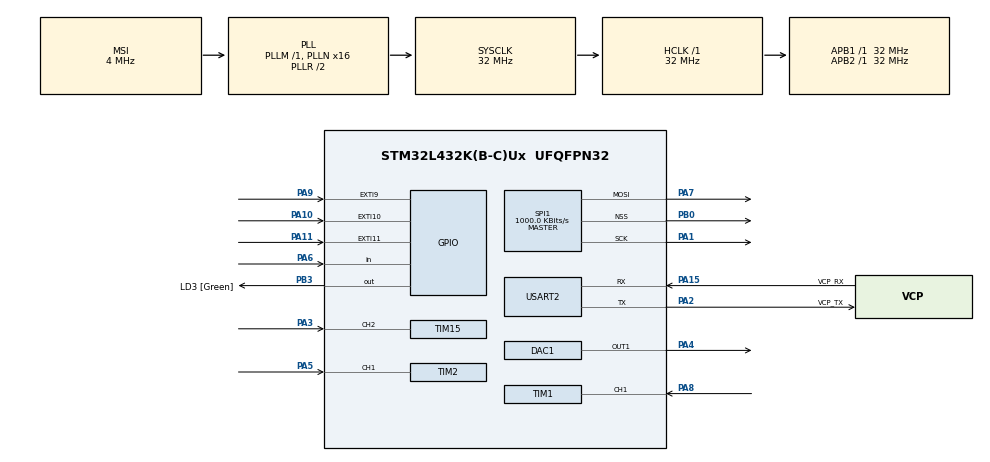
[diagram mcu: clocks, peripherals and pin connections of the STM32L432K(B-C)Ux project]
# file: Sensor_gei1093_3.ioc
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Mcu.Family=STM32L4
Mcu.Name=STM32L432K(B-C)Ux
Mcu.Package=UFQFPN32
NVIC.EXTI15_10_IRQn=true\:0\:0\:false\:false\:true\:true\:true\:true
NVIC.EXTI9_5_IRQn=true\:0\:0\:false\:false\:true\:true\:true\:true
NVIC.PriorityGroup=NVIC_PRIORITYGROUP_4
NVIC.TIM1_BRK_TIM15_IRQn=true\:0\:0\:false\:false\:true\:true\:true\:true
NVIC.TIM1_CC_IRQn=true\:0\:0\:false\:false\:true\:true\:true\:true
NVIC.TIM2_IRQn=true\:0\:0\:false\:false\:true\:true\:true\:true
NVIC.TIM6_DAC_IRQn=true\:0\:0\:false\:false\:true\:true\:true\:true
PA0.GPIO_Label=MCO [High speed clock in]
PA0.Mode=HSE-External-Clock-Source-for-LittleOrca
PA0.Signal=RCC_CK_IN
PA1.Mode=TX_Only_Simplex_Unidirect_Master
PA1.Signal=SPI1_SCK
PA10.GPIO_PuPd=GPIO_PULLDOWN
PA10.Signal=GPXTI10
PA11.GPIO_PuPd=GPIO_PULLDOWN
PA11.Signal=GPXTI11
PA13\ (JTMS-SWDIO).GPIO_Label=SWDIO
PA13\ (JTMS-SWDIO).Mode=Serial_Wire
PA13\ (JTMS-SWDIO).Signal=SYS_JTMS-SWDIO
PA14\ (JTCK-SWCLK).GPIO_Label=SWCLK
PA14\ (JTCK-SWCLK).Mode=Serial_Wire
PA14\ (JTCK-SWCLK).Signal=SYS_JTCK-SWCLK
PA15\ (JTDI).GPIO_Label=VCP_RX
PA15\ (JTDI).Mode=Asynchronous
PA15\ (JTDI).Signal=USART2_RX
PA2.GPIO_Label=VCP_TX
PA2.Mode=Asynchronous
PA2.Signal=USART2_TX
PA3.Signal=S_TIM15_CH2
PA4.Signal=COMP_DAC11_group
PA5.Signal=S_TIM2_CH1
PA6.GPIO_PuPd=GPIO_PULLDOWN
PA6.Signal=GPIO_Input
PA7.Mode=TX_Only_Simplex_Unidirect_Master
PA7.Signal=SPI1_MOSI
PA8.Signal=S_TIM1_CH1
PA9.GPIO_PuPd=GPIO_PULLDOWN
PA9.Signal=GPXTI9
PB0.Mode=NSS_Signal_Hard_Output
PB0.Signal=SPI1_NSS
PB3\ (JTDO-TRACESWO).GPIO_Label=LD3 [Green]
PB3\ (JTDO-TRACESWO).Signal=GPIO_Output
PC14-OSC32_IN\ (PC14).Mode=LSE-External-Oscillator
PC14-OSC32_IN\ (PC14).Signal=RCC_OSC32_IN
PC15-OSC32_OUT\ (PC15).Mode=LSE-External-Oscillator
PC15-OSC32_OUT\ (PC15).Signal=RCC_OSC32_OUT
ProjectManager.HeapSize=0x200
ProjectManager.StackSize=0x400
ProjectManager.TargetToolchain=STM32CubeIDE
RCC.AHBFreq_Value=32000000
RCC.APB1Freq_Value=32000000
RCC.APB1TimFreq_Value=32000000
RCC.APB2Freq_Value=32000000
RCC.APB2TimFreq_Value=32000000
RCC.CortexFreq_Value=32000000
RCC.HCLKFreq_Value=32000000
RCC.HSE_VALUE=8000000
RCC.HSI16_VALUE=16000000
RCC.HSI48_VALUE=48000000
RCC.HSI_VALUE=16000000
RCC.MSI_VALUE=4000000
RCC.PLLMUL=RCC_PLLMUL_4
RCC.PLLN=16
RCC.SYSCLKFreq_VALUE=32000000
RCC.SYSCLKSource=RCC_SYSCLKSOURCE_PLLCLK
RCC.VCOOutputFreq_Value=64000000
SH.COMP_DAC11_group.0=DAC1_OUT1,DAC_OUT1
SH.S_TIM15_CH2.0=TIM15_CH2,Input_Capture2_from_TI2
SH.S_TIM1_CH1.0=TIM1_CH1,Input_Capture1_from_TI1
SH.S_TIM2_CH1.0=TIM2_CH1,Input_Capture1_from_TI1
SPI1.BaudRatePrescaler=SPI_BAUDRATEPRESCALER_32
SPI1.CalculateBaudRate=1000.0 KBits/s
SPI1.DataSize=SPI_DATASIZE_8BIT
SPI1.Direction=SPI_DIRECTION_2LINES
SPI1.Mode=SPI_MODE_MASTER
SPI1.VirtualNSS=VM_NSSHARD
SPI1.VirtualType=VM_MASTER
TIM1.Channel-Input_Capture1_from_TI1=TIM_CHANNEL_1
TIM1.Period=4000-1
TIM1.Prescaler=160-1
TIM15.Channel-Input_Capture2_from_TI2=TIM_CHANNEL_2
TIM15.Period=4000-1
TIM15.Prescaler=160-1
TIM2.Channel-Input_Capture1_from_TI1=TIM_CHANNEL_1
TIM2.Period=4000-1
TIM2.Prescaler=160-1
TIM6.Period=100
TIM6.Prescaler=3200-1
USART2.VirtualMode-Asynchronous=VM_ASYNC
VP_TIM6_VS_ClockSourceINT.Mode=Enable_Timer
board=NUCLEO-L432KC

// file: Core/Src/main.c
/* USER CODE BEGIN Header */
/**
  ******************************************************************************
  * @file           : main.c
  * @brief          : Main program body
  ******************************************************************************
  * @attention
  *
  * Copyright (c) 2025 STMicroelectronics.
  * All rights reserved.
  *
  * This software is licensed under terms that can be found in the LICENSE file
  * in the root directory of this software component.
  * If no LICENSE file comes with this software, it is provided AS-IS.
  *
  ******************************************************************************
  */
/* USER CODE END Header */
#include "main.h"
#include <stdlib.h>

DAC_HandleTypeDef hdac1;

SPI_HandleTypeDef hspi1;

TIM_HandleTypeDef htim1;
TIM_HandleTypeDef htim2;
TIM_HandleTypeDef htim6;
TIM_HandleTypeDef htim15;

UART_HandleTypeDef huart2;

/* USER CODE BEGIN PV */
// Variables globales pour Input Capture et traitement
volatile uint16_t first_capt1 = 0, first_capt2 = 0, first_capt15 = 0; // Flags de première capture
static uint16_t period = 0, period2 = 0, period15 = 0; // Périodes mesurées
static uint8_t tx_bytes[3] = {0,0,0}; // Tableau SPI à transmettre
volatile uint8_t flag = 0, flag_PA11=0, flag_PA10=0, flag_PA9=0; // Flags pour GPIO
static uint16_t base_angle=0, base_angle2=0, base_angle15=0; // Angles calculés à partir des CCR
static uint8_t buffer[10]; // Buffer pour valeurs aléatoires
uint8_t value; // Valeur temporaire
uint16_t dacValue; // Valeur à envoyer au DAC
/* USER CODE END PV */

void SystemClock_Config(void);
static void MX_GPIO_Init(void);
static void MX_USART2_UART_Init(void);
static void MX_DAC1_Init(void);
static void MX_SPI1_Init(void);
static void MX_TIM1_Init(void);
static void MX_TIM2_Init(void);
static void MX_TIM15_Init(void);
static void MX_TIM6_Init(void);

int main(void)
{

  /* MCU Configuration--------------------------------------------------------*/

  /* Reset of all peripherals, Initializes the Flash interface and the Systick. */
  HAL_Init();

  /* Configure the system clock */
  SystemClock_Config();

  /* Initialize all configured peripherals */
  MX_GPIO_Init();
  MX_USART2_UART_Init();
  MX_DAC1_Init();
  MX_SPI1_Init();
  MX_TIM1_Init();
  MX_TIM2_Init();
  MX_TIM15_Init();
  MX_TIM6_Init();
  /* USER CODE BEGIN 2 */
  // Démarrage des Input Capture en mode interruption
  HAL_TIM_IC_Start_IT(&htim1, TIM_CHANNEL_1);
  HAL_TIM_IC_Start_IT(&htim2, TIM_CHANNEL_1);
  HAL_TIM_IC_Start_IT(&htim15, TIM_CHANNEL_2);

  // Démarrage du timer de base TIM6 avec interruption
  HAL_TIM_Base_Start_IT(&htim6);

  // Définir les polarités initiales pour la capture
  __HAL_TIM_SET_CAPTUREPOLARITY(&htim1, TIM_CHANNEL_1, TIM_INPUTCHANNELPOLARITY_RISING);
  __HAL_TIM_SET_CAPTUREPOLARITY(&htim2, TIM_CHANNEL_1, TIM_INPUTCHANNELPOLARITY_RISING);
  __HAL_TIM_SET_CAPTUREPOLARITY(&htim15, TIM_CHANNEL_2, TIM_INPUTCHANNELPOLARITY_RISING);

  // Démarrer le DAC sur le canal 1
  HAL_DAC_Start(&hdac1, DAC_CHANNEL_1);

  // Remplir le buffer avec des valeurs aléatoires
  fillBuffer();
  /* USER CODE END 2 */

  /* Infinite loop */
  /* USER CODE BEGIN WHILE */
  while (1)
  {
      // Boucle sur le buffer (ici juste la dernière valeur est conservée)
	  for (int i = 0; i < 10; i++)
	  {
		  value = buffer[i]; // Sélectionne une valeur du buffer
	  }

      // Si l’interruption PA11 s’est déclenchée
	  if (flag_PA11==1){
	    // Convertir les CCR en angles
	    base_angle=(uint8_t)ccr_to_angle(period);
	    base_angle2=(uint8_t)ccr_to_angle(period2);
	    base_angle15=(uint8_t)ccr_to_angle(period15);

	    // Si PA10 activé, ajuster les angles
	    if(flag_PA10 == 1){
		    base_angle = base_angle + value;
		    flag_PA10 = 0;
	    }

	    // Préparer le tableau SPI
	    tx_bytes[0] = base_angle;
	    tx_bytes[1] = base_angle2;
	    tx_bytes[2] = base_angle15;

        HAL_Delay(100);
	    // Transmettre les données par SPI
	    HAL_SPI_Transmit(&hspi1, tx_bytes, 3, HAL_MAX_DELAY);
	    flag_PA11=0;
	  }

      // Lire l’état de PA6
	  uint8_t state = HAL_GPIO_ReadPin(GPIOA, GPIO_PIN_6);

      // Si PA6 haut, mettre DAC à 1024
	  if (state == GPIO_PIN_SET)
	  {
		  dacValue = 1024;
	  }

      // Si flag_PA9 ou PA6 bas, mettre DAC à 0
	  if (flag_PA9 == 1 || state == GPIO_PIN_RESET)
	  {
	      dacValue = 0;
	  }

      // Mettre à jour la valeur du DAC
	  HAL_DAC_SetValue(&hdac1, DAC_CHANNEL_1, DAC_ALIGN_12B_R, dacValue);
  }
  /* USER CODE END WHILE */
  /* USER CODE END 3 */
}

void SystemClock_Config(void)
{
  RCC_OscInitTypeDef RCC_OscInitStruct = {0};
  RCC_ClkInitTypeDef RCC_ClkInitStruct = {0};

  /** Configure the main internal regulator output voltage
  */
  if (HAL_PWREx_ControlVoltageScaling(PWR_REGULATOR_VOLTAGE_SCALE1) != HAL_OK)
  {
    Error_Handler();
  }

  /** Configure LSE Drive Capability
  */
  HAL_PWR_EnableBkUpAccess();
  __HAL_RCC_LSEDRIVE_CONFIG(RCC_LSEDRIVE_LOW);

  /** Initializes the RCC Oscillators according to the specified parameters
  * in the RCC_OscInitTypeDef structure.
  */
  RCC_OscInitStruct.OscillatorType = RCC_OSCILLATORTYPE_LSE|RCC_OSCILLATORTYPE_MSI;
  RCC_OscInitStruct.LSEState = RCC_LSE_ON;
  RCC_OscInitStruct.MSIState = RCC_MSI_ON;
  RCC_OscInitStruct.MSICalibrationValue = 0;
  RCC_OscInitStruct.MSIClockRange = RCC_MSIRANGE_6;
  RCC_OscInitStruct.PLL.PLLState = RCC_PLL_ON;
  RCC_OscInitStruct.PLL.PLLSource = RCC_PLLSOURCE_MSI;
  RCC_OscInitStruct.PLL.PLLM = 1;
  RCC_OscInitStruct.PLL.PLLN = 16;
  RCC_OscInitStruct.PLL.PLLP = RCC_PLLP_DIV7;
  RCC_OscInitStruct.PLL.PLLQ = RCC_PLLQ_DIV2;
  RCC_OscInitStruct.PLL.PLLR = RCC_PLLR_DIV2;
  if (HAL_RCC_OscConfig(&RCC_OscInitStruct) != HAL_OK)
  {
    Error_Handler();
  }

  /** Initializes the CPU, AHB and APB buses clocks
  */
  RCC_ClkInitStruct.ClockType = RCC_CLOCKTYPE_HCLK|RCC_CLOCKTYPE_SYSCLK
                              |RCC_CLOCKTYPE_PCLK1|RCC_CLOCKTYPE_PCLK2;
  RCC_ClkInitStruct.SYSCLKSource = RCC_SYSCLKSOURCE_PLLCLK;
  RCC_ClkInitStruct.AHBCLKDivider = RCC_SYSCLK_DIV1;
  RCC_ClkInitStruct.APB1CLKDivider = RCC_HCLK_DIV1;
  RCC_ClkInitStruct.APB2CLKDivider = RCC_HCLK_DIV1;

  if (HAL_RCC_ClockConfig(&RCC_ClkInitStruct, FLASH_LATENCY_1) != HAL_OK)
  {
    Error_Handler();
  }

  /** Enable MSI Auto calibration
  */
  HAL_RCCEx_EnableMSIPLLMode();
}

static void MX_DAC1_Init(void)
{

  DAC_ChannelConfTypeDef sConfig = {0};

  /** DAC Initialization
  */
  hdac1.Instance = DAC1;
  if (HAL_DAC_Init(&hdac1) != HAL_OK)
  {
    Error_Handler();
  }

  /** DAC channel OUT1 config
  */
  sConfig.DAC_SampleAndHold = DAC_SAMPLEANDHOLD_DISABLE;
  sConfig.DAC_Trigger = DAC_TRIGGER_NONE;
  sConfig.DAC_OutputBuffer = DAC_OUTPUTBUFFER_ENABLE;
  sConfig.DAC_ConnectOnChipPeripheral = DAC_CHIPCONNECT_DISABLE;
  sConfig.DAC_UserTrimming = DAC_TRIMMING_FACTORY;
  if (HAL_DAC_ConfigChannel(&hdac1, &sConfig, DAC_CHANNEL_1) != HAL_OK)
  {
    Error_Handler();
  }

}

static void MX_SPI1_Init(void)
{

  /* SPI1 parameter configuration*/
  hspi1.Instance = SPI1;
  hspi1.Init.Mode = SPI_MODE_MASTER;
  hspi1.Init.Direction = SPI_DIRECTION_2LINES;
  hspi1.Init.DataSize = SPI_DATASIZE_8BIT;
  hspi1.Init.CLKPolarity = SPI_POLARITY_LOW;
  hspi1.Init.CLKPhase = SPI_PHASE_1EDGE;
  hspi1.Init.NSS = SPI_NSS_HARD_OUTPUT;
  hspi1.Init.BaudRatePrescaler = SPI_BAUDRATEPRESCALER_32;
  hspi1.Init.FirstBit = SPI_FIRSTBIT_MSB;
  hspi1.Init.TIMode = SPI_TIMODE_DISABLE;
  hspi1.Init.CRCCalculation = SPI_CRCCALCULATION_DISABLE;
  hspi1.Init.CRCPolynomial = 7;
  hspi1.Init.CRCLength = SPI_CRC_LENGTH_DATASIZE;
  hspi1.Init.NSSPMode = SPI_NSS_PULSE_ENABLE;
  if (HAL_SPI_Init(&hspi1) != HAL_OK)
  {
    Error_Handler();
  }

}

static void MX_TIM1_Init(void)
{

  TIM_MasterConfigTypeDef sMasterConfig = {0};
  TIM_IC_InitTypeDef sConfigIC = {0};

  htim1.Instance = TIM1;
  htim1.Init.Prescaler = 160-1;
  htim1.Init.CounterMode = TIM_COUNTERMODE_UP;
  htim1.Init.Period = 4000-1;
  htim1.Init.ClockDivision = TIM_CLOCKDIVISION_DIV1;
  htim1.Init.RepetitionCounter = 0;
  htim1.Init.AutoReloadPreload = TIM_AUTORELOAD_PRELOAD_DISABLE;
  if (HAL_TIM_IC_Init(&htim1) != HAL_OK)
  {
    Error_Handler();
  }
  sMasterConfig.MasterOutputTrigger = TIM_TRGO_RESET;
  sMasterConfig.MasterOutputTrigger2 = TIM_TRGO2_RESET;
  sMasterConfig.MasterSlaveMode = TIM_MASTERSLAVEMODE_DISABLE;
  if (HAL_TIMEx_MasterConfigSynchronization(&htim1, &sMasterConfig) != HAL_OK)
  {
    Error_Handler();
  }
  sConfigIC.ICPolarity = TIM_INPUTCHANNELPOLARITY_RISING;
  sConfigIC.ICSelection = TIM_ICSELECTION_DIRECTTI;
  sConfigIC.ICPrescaler = TIM_ICPSC_DIV1;
  sConfigIC.ICFilter = 0;
  if (HAL_TIM_IC_ConfigChannel(&htim1, &sConfigIC, TIM_CHANNEL_1) != HAL_OK)
  {
    Error_Handler();
  }

}

static void MX_TIM2_Init(void)
{

  TIM_MasterConfigTypeDef sMasterConfig = {0};
  TIM_IC_InitTypeDef sConfigIC = {0};

  htim2.Instance = TIM2;
  htim2.Init.Prescaler = 160-1;
  htim2.Init.CounterMode = TIM_COUNTERMODE_UP;
  htim2.Init.Period = 4000-1;
  htim2.Init.ClockDivision = TIM_CLOCKDIVISION_DIV1;
  htim2.Init.AutoReloadPreload = TIM_AUTORELOAD_PRELOAD_DISABLE;
  if (HAL_TIM_IC_Init(&htim2) != HAL_OK)
  {
    Error_Handler();
  }
  sMasterConfig.MasterOutputTrigger = TIM_TRGO_RESET;
  sMasterConfig.MasterSlaveMode = TIM_MASTERSLAVEMODE_DISABLE;
  if (HAL_TIMEx_MasterConfigSynchronization(&htim2, &sMasterConfig) != HAL_OK)
  {
    Error_Handler();
  }
  sConfigIC.ICPolarity = TIM_INPUTCHANNELPOLARITY_RISING;
  sConfigIC.ICSelection = TIM_ICSELECTION_DIRECTTI;
  sConfigIC.ICPrescaler = TIM_ICPSC_DIV1;
  sConfigIC.ICFilter = 0;
  if (HAL_TIM_IC_ConfigChannel(&htim2, &sConfigIC, TIM_CHANNEL_1) != HAL_OK)
  {
    Error_Handler();
  }

}

static void MX_TIM6_Init(void)
{

  TIM_MasterConfigTypeDef sMasterConfig = {0};

  htim6.Instance = TIM6;
  htim6.Init.Prescaler = 3200-1;
  htim6.Init.CounterMode = TIM_COUNTERMODE_UP;
  htim6.Init.Period = 100;
  htim6.Init.AutoReloadPreload = TIM_AUTORELOAD_PRELOAD_DISABLE;
  if (HAL_TIM_Base_Init(&htim6) != HAL_OK)
  {
    Error_Handler();
  }
  sMasterConfig.MasterOutputTrigger = TIM_TRGO_RESET;
  sMasterConfig.MasterSlaveMode = TIM_MASTERSLAVEMODE_DISABLE;
  if (HAL_TIMEx_MasterConfigSynchronization(&htim6, &sMasterConfig) != HAL_OK)
  {
    Error_Handler();
  }

}

static void MX_TIM15_Init(void)
{

  TIM_MasterConfigTypeDef sMasterConfig = {0};
  TIM_IC_InitTypeDef sConfigIC = {0};

  htim15.Instance = TIM15;
  htim15.Init.Prescaler = 160-1;
  htim15.Init.CounterMode = TIM_COUNTERMODE_UP;
  htim15.Init.Period = 4000-1;
  htim15.Init.ClockDivision = TIM_CLOCKDIVISION_DIV1;
  htim15.Init.RepetitionCounter = 0;
  htim15.Init.AutoReloadPreload = TIM_AUTORELOAD_PRELOAD_DISABLE;
  if (HAL_TIM_IC_Init(&htim15) != HAL_OK)
  {
    Error_Handler();
  }
  sMasterConfig.MasterOutputTrigger = TIM_TRGO_RESET;
  sMasterConfig.MasterSlaveMode = TIM_MASTERSLAVEMODE_DISABLE;
  if (HAL_TIMEx_MasterConfigSynchronization(&htim15, &sMasterConfig) != HAL_OK)
  {
    Error_Handler();
  }
  sConfigIC.ICPolarity = TIM_INPUTCHANNELPOLARITY_RISING;
  sConfigIC.ICSelection = TIM_ICSELECTION_DIRECTTI;
  sConfigIC.ICPrescaler = TIM_ICPSC_DIV1;
  sConfigIC.ICFilter = 0;
  if (HAL_TIM_IC_ConfigChannel(&htim15, &sConfigIC, TIM_CHANNEL_2) != HAL_OK)
  {
    Error_Handler();
  }

}

static void MX_USART2_UART_Init(void)
{

  huart2.Instance = USART2;
  huart2.Init.BaudRate = 115200;
  huart2.Init.WordLength = UART_WORDLENGTH_8B;
  huart2.Init.StopBits = UART_STOPBITS_1;
  huart2.Init.Parity = UART_PARITY_NONE;
  huart2.Init.Mode = UART_MODE_TX_RX;
  huart2.Init.HwFlowCtl = UART_HWCONTROL_NONE;
  huart2.Init.OverSampling = UART_OVERSAMPLING_16;
  huart2.Init.OneBitSampling = UART_ONE_BIT_SAMPLE_DISABLE;
  huart2.AdvancedInit.AdvFeatureInit = UART_ADVFEATURE_NO_INIT;
  if (HAL_UART_Init(&huart2) != HAL_OK)
  {
    Error_Handler();
  }

}

static void MX_GPIO_Init(void)
{
  GPIO_InitTypeDef GPIO_InitStruct = {0};

  /* GPIO Ports Clock Enable */
  __HAL_RCC_GPIOC_CLK_ENABLE();
  __HAL_RCC_GPIOA_CLK_ENABLE();
  __HAL_RCC_GPIOB_CLK_ENABLE();

  /*Configure GPIO pin Output Level */
  HAL_GPIO_WritePin(LD3_GPIO_Port, LD3_Pin, GPIO_PIN_RESET);

  /*Configure GPIO pin : PA6 */
  GPIO_InitStruct.Pin = GPIO_PIN_6;
  GPIO_InitStruct.Mode = GPIO_MODE_INPUT;
  GPIO_InitStruct.Pull = GPIO_PULLDOWN;
  HAL_GPIO_Init(GPIOA, &GPIO_InitStruct);

  /*Configure GPIO pins : PA9 PA10 PA11 */
  GPIO_InitStruct.Pin = GPIO_PIN_9|GPIO_PIN_10|GPIO_PIN_11;
  GPIO_InitStruct.Mode = GPIO_MODE_IT_RISING;
  GPIO_InitStruct.Pull = GPIO_PULLDOWN;
  HAL_GPIO_Init(GPIOA, &GPIO_InitStruct);

  /*Configure GPIO pin : LD3_Pin */
  GPIO_InitStruct.Pin = LD3_Pin;
  GPIO_InitStruct.Mode = GPIO_MODE_OUTPUT_PP;
  GPIO_InitStruct.Pull = GPIO_NOPULL;
  GPIO_InitStruct.Speed = GPIO_SPEED_FREQ_LOW;
  HAL_GPIO_Init(LD3_GPIO_Port, &GPIO_InitStruct);

  /* EXTI interrupt init*/
  HAL_NVIC_SetPriority(EXTI9_5_IRQn, 0, 0);
  HAL_NVIC_EnableIRQ(EXTI9_5_IRQn);

  HAL_NVIC_SetPriority(EXTI15_10_IRQn, 0, 0);
  HAL_NVIC_EnableIRQ(EXTI15_10_IRQn);

}

/* USER CODE BEGIN 4 */

/* Callback Input Capture pour TIM1, TIM2 et TIM15 */
void HAL_TIM_IC_CaptureCallback(TIM_HandleTypeDef *htim)
{
    // TIM1 CH1
	if (htim->Instance == TIM1 && htim->Channel == HAL_TIM_ACTIVE_CHANNEL_1)
	{
        if (first_capt1 == 0)
        {
            __HAL_TIM_SET_COUNTER(&htim1, 0); // Reset compteur
            __HAL_TIM_SET_CAPTUREPOLARITY(&htim1, TIM_CHANNEL_1, TIM_INPUTCHANNELPOLARITY_FALLING);
            first_capt1 = 1;
        }
        else
        {
            period = HAL_TIM_ReadCapturedValue(&htim1, TIM_CHANNEL_1);
            period = period -(0 * (period / 100)) ;  // Calibration 14%
            first_capt1 = 0;
            __HAL_TIM_SET_CAPTUREPOLARITY(&htim1, TIM_CHANNEL_1, TIM_INPUTCHANNELPOLARITY_RISING);
        }
	}
    // TIM2 CH1
    else if (htim->Instance == TIM2 && htim->Channel == HAL_TIM_ACTIVE_CHANNEL_1)
    {
        if (first_capt2 == 0)
        {
            __HAL_TIM_SET_COUNTER(&htim2, 0);
            __HAL_TIM_SET_CAPTUREPOLARITY(&htim2, TIM_CHANNEL_1, TIM_INPUTCHANNELPOLARITY_FALLING);
            first_capt2 = 1;
        }
        else
        {
            period2 = HAL_TIM_ReadCapturedValue(&htim2, TIM_CHANNEL_1);
            period2 = period2 - (0 * (period2 / 100));  // calibration
            first_capt2 = 0;
            __HAL_TIM_SET_CAPTUREPOLARITY(&htim2, TIM_CHANNEL_1, TIM_INPUTCHANNELPOLARITY_RISING);
        }
    }
    // TIM15 CH2
    else if (htim->Instance == TIM15 && htim->Channel == HAL_TIM_ACTIVE_CHANNEL_2)
    {
        if (first_capt15 == 0)
        {
            __HAL_TIM_SET_COUNTER(&htim15, 0);
            __HAL_TIM_SET_CAPTUREPOLARITY(&htim15, TIM_CHANNEL_2, TIM_INPUTCHANNELPOLARITY_FALLING);
            first_capt15 = 1;
        }
        else
        {
            period15 = HAL_TIM_ReadCapturedValue(&htim15, TIM_CHANNEL_2);
            period15 = period15 - (0 * (period15 / 100));  // calibration
            first_capt15 = 0;
            __HAL_TIM_SET_CAPTUREPOLARITY(&htim15, TIM_CHANNEL_2, TIM_INPUTCHANNELPOLARITY_RISING);
        }
    }
}

// Conversion CCR -> angle 0-180°
uint16_t ccr_to_angle(uint16_t ccr) {
    uint32_t angle;

    if (ccr <= 1000) {        // Clamp minimal
        angle = 0;
    } else if (ccr >= 2000) { // Clamp maximal
        angle = 180;
    } else {
        angle = (uint32_t)(ccr - 1000) * 180 / 1000;
    }

    return (uint16_t)angle;
}

void fillBuffer(void)
{
    for (int i = 0; i < 10; i++)
    {
        buffer[i] = 11 + (rand() % 11);   // generates values from 11 to 20
    }
}

void HAL_GPIO_EXTI_Callback(uint16_t GPIO_Pin)
{
    if (GPIO_Pin == GPIO_PIN_9)
    {
        flag_PA9 = !flag_PA9;   // Toggle flag for PA9
    }
    else if (GPIO_Pin == GPIO_PIN_10)
    {
        flag_PA10 = 1; // Toggle flag for PA10
    }

    else if (GPIO_Pin == GPIO_PIN_11)
    {
        flag_PA11 = 1; // Toggle flag for PA10
    }

}

/* USER CODE END 4 */

void Error_Handler(void)
{
  __disable_irq();
  while (1)
  {
  }
}
